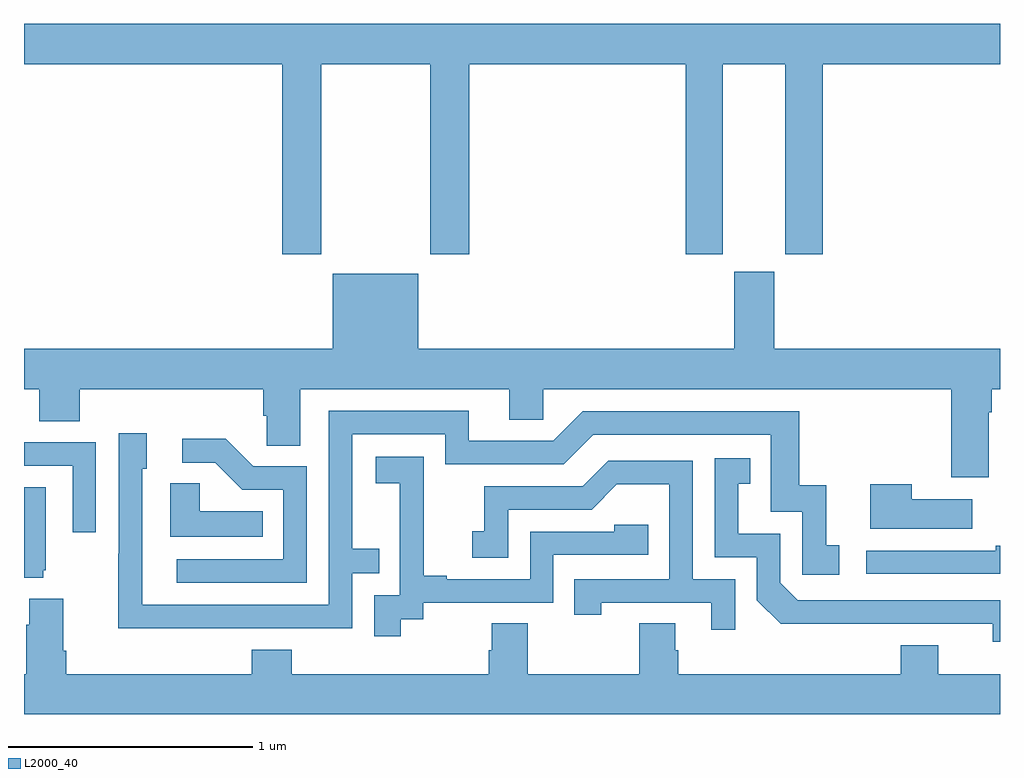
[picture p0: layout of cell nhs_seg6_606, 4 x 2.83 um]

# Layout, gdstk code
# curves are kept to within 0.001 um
import gdstk
lib = gdstk.Library(unit=1e-6, precision=1e-09)
def P(c, l, *ps):  # polygons
    for p in ps: c.add(gdstk.Polygon(p, *l))
L2000_40 = (2000, 40)

nhs_seg6_606 = lib.new_cell('nhs_seg6_606')
P(nhs_seg6_606, L2000_40, [(150.219,940.676),(150.664,940.676),(150.664,939.897),(150.824,939.897),(150.824,940.676),(151.712,940.676),(151.712,939.897),(151.864,939.897),(151.864,940.676),(152.12,940.676),(152.12,939.897),(152.273,939.897),(152.273,940.676),(153,940.676),(153,940.84),(149,940.84),(149,940.676),(150.059,940.676),(150.059,939.897),(150.219,939.897)],
  [(151.91,939.825),(151.91,939.508),(150.616,939.508),(150.616,939.817),(150.266,939.817),(150.266,939.508),(149,939.508),(149,939.344),(149.063,939.344),(149.063,939.211),(149.228,939.211),(149.228,939.344),(149.981,939.344),(149.981,939.235),(149.994,939.235),(149.994,939.112),(150.133,939.112),(150.133,939.344),(150.989,939.344),(150.989,939.217),(151.128,939.217),(151.128,939.344),(152.801,939.344),(152.801,938.982),(152.953,938.982),(152.953,939.248),(152.966,939.248),(152.966,939.344),(153,939.344),(153,939.508),(152.074,939.508),(152.074,939.825)],
  [(149.849,938.364),(150.345,938.364),(150.345,938.589),(150.455,938.589),(150.455,938.69),(150.345,938.69),(150.345,939.159),(150.726,939.159),(150.726,939.036),(151.212,939.036),(151.332,939.156),(152.061,939.156),(152.061,938.841),(152.19,938.841),(152.19,938.583),(152.341,938.583),(152.341,938.703),(152.288,938.703),(152.288,938.95),(152.177,938.95),(152.177,939.252),(151.29,939.252),(151.17,939.132),(150.823,939.132),(150.823,939.255),(150.249,939.255),(150.249,938.46),(149.484,938.46),(149.484,939.018),(149.503,939.018),(149.503,939.163),(149.388,939.163),(149.388,938.669),(149.386,938.669),(149.386,938.363)],
  [(150.159,939.027),(149.94,939.027),(149.827,939.14),(149.649,939.14),(149.649,939.042),(149.783,939.042),(149.894,938.931),(150.063,938.931),(150.063,938.646),(149.625,938.646),(149.625,938.55),(150.159,938.55)],
  [(149.295,939.126),(149,939.126),(149,939.03),(149.199,939.03),(149.199,938.757),(149.295,938.757)],
  [(150.544,938.401),(150.636,938.401),(150.636,938.469),(151.17,938.469),(151.17,938.664),(151.559,938.664),(151.559,938.787),(151.419,938.787),(151.419,938.76),(151.074,938.76),(151.074,938.565),(150.733,938.565),(150.733,938.578),(150.638,938.578),(150.638,938.861),(150.639,938.861),(150.639,939.067),(150.441,939.067),(150.441,938.957),(150.539,938.957),(150.539,938.729),(150.54,938.729),(150.54,938.499),(150.435,938.499),(150.435,938.331),(150.544,938.331)],
  [(153,938.478),(152.172,938.478),(152.1,938.55),(152.1,938.751),(151.927,938.751),(151.927,938.955),(151.976,938.955),(151.976,939.061),(151.83,939.061),(151.83,938.655),(152.004,938.655),(152.004,938.478),(152.102,938.381),(152.97,938.382),(152.97,938.309),(153,938.309)],
  [(151.914,938.565),(151.74,938.565),(151.74,939.051),(151.394,939.051),(151.289,938.946),(150.886,938.946),(150.886,938.761),(150.837,938.761),(150.837,938.652),(150.984,938.652),(150.984,938.85),(151.326,938.85),(151.43,938.954),(151.644,938.954),(151.644,938.565),(151.255,938.565),(151.255,938.418),(151.366,938.418),(151.366,938.469),(151.817,938.469),(151.817,938.358),(151.914,938.358)],
  [(149.978,938.842),(149.721,938.842),(149.721,938.957),(149.6,938.957),(149.6,938.738),(149.978,938.738)],
  [(152.887,938.893),(152.639,938.893),(152.639,938.953),(152.468,938.953),(152.468,938.771),(152.887,938.771)],
  [(149.078,938.601),(149.089,938.601),(149.089,938.941),(149,938.941),(149,938.57),(149.078,938.57)],
  [(153,938.702),(152.983,938.702),(152.983,938.682),(152.451,938.682),(152.451,938.586),(153,938.586)],
  [(149.933,938.275),(149.933,938.176),(149.174,938.176),(149.174,938.272),(149.161,938.272),(149.161,938.485),(149.021,938.485),(149.021,938.378),(149.009,938.378),(149.009,938.176),(149,938.176),(149,938.012),(153,938.012),(153,938.176),(152.746,938.176),(152.746,938.293),(152.594,938.293),(152.594,938.176),(151.682,938.176),(151.682,938.274),(151.669,938.274),(151.669,938.384),(151.522,938.384),(151.522,938.176),(151.065,938.176),(151.065,938.384),(150.917,938.384),(150.917,938.274),(150.905,938.274),(150.905,938.176),(150.098,938.176),(150.098,938.275)])

lib.write_gds('nhs_seg6_606.gds')
